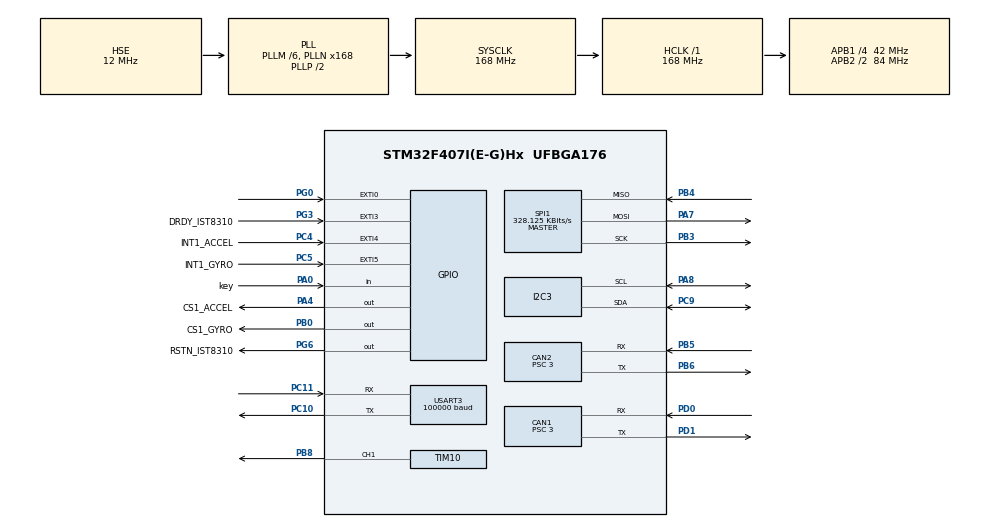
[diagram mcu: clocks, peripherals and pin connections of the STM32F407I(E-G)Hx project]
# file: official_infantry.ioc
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CAN1.ABOM=ENABLE
CAN1.AWUM=ENABLE
CAN1.BS1=CAN_BS1_9TQ
CAN1.BS2=CAN_BS2_4TQ
CAN1.CalculateBaudRate=1000000
CAN1.CalculateTimeBit=1000
CAN1.CalculateTimeQuantum=71.42857142857143
CAN1.NART=ENABLE
CAN1.Prescaler=3
CAN2.ABOM=ENABLE
CAN2.AWUM=ENABLE
CAN2.BS1=CAN_BS1_9TQ
CAN2.BS2=CAN_BS2_4TQ
CAN2.CalculateBaudRate=1000000
CAN2.CalculateTimeBit=1000
CAN2.CalculateTimeQuantum=71.42857142857143
CAN2.NART=ENABLE
CAN2.Prescaler=3
Dma.Request0=SPI1_RX
Dma.Request1=SPI1_TX
Dma.Request2=USART3_RX
Dma.SPI1_RX.0.Direction=DMA_PERIPH_TO_MEMORY
Dma.SPI1_RX.0.FIFOMode=DMA_FIFOMODE_DISABLE
Dma.SPI1_RX.0.Instance=DMA2_Stream2
Dma.SPI1_RX.0.MemDataAlignment=DMA_MDATAALIGN_BYTE
Dma.SPI1_RX.0.MemInc=DMA_MINC_ENABLE
Dma.SPI1_RX.0.Mode=DMA_NORMAL
Dma.SPI1_RX.0.PeriphDataAlignment=DMA_PDATAALIGN_BYTE
Dma.SPI1_RX.0.PeriphInc=DMA_PINC_DISABLE
Dma.SPI1_RX.0.Priority=DMA_PRIORITY_LOW
Dma.SPI1_TX.1.Direction=DMA_MEMORY_TO_PERIPH
Dma.SPI1_TX.1.FIFOMode=DMA_FIFOMODE_DISABLE
Dma.SPI1_TX.1.Instance=DMA2_Stream3
Dma.SPI1_TX.1.MemDataAlignment=DMA_MDATAALIGN_BYTE
Dma.SPI1_TX.1.MemInc=DMA_MINC_ENABLE
Dma.SPI1_TX.1.Mode=DMA_NORMAL
Dma.SPI1_TX.1.PeriphDataAlignment=DMA_PDATAALIGN_BYTE
Dma.SPI1_TX.1.PeriphInc=DMA_PINC_DISABLE
Dma.SPI1_TX.1.Priority=DMA_PRIORITY_LOW
Dma.USART3_RX.2.Direction=DMA_PERIPH_TO_MEMORY
Dma.USART3_RX.2.FIFOMode=DMA_FIFOMODE_DISABLE
Dma.USART3_RX.2.Instance=DMA1_Stream1
Dma.USART3_RX.2.MemDataAlignment=DMA_MDATAALIGN_BYTE
Dma.USART3_RX.2.MemInc=DMA_MINC_ENABLE
Dma.USART3_RX.2.Mode=DMA_CIRCULAR
Dma.USART3_RX.2.PeriphDataAlignment=DMA_PDATAALIGN_BYTE
Dma.USART3_RX.2.PeriphInc=DMA_PINC_DISABLE
Dma.USART3_RX.2.Priority=DMA_PRIORITY_LOW
FREERTOS.INCLUDE_eTaskGetState=1
FREERTOS.INCLUDE_pcTaskGetTaskName=1
FREERTOS.INCLUDE_uxTaskGetStackHighWaterMark=1
FREERTOS.INCLUDE_vTaskCleanUpResources=1
FREERTOS.INCLUDE_vTaskDelayUntil=1
FREERTOS.INCLUDE_xEventGroupSetBitFromISR=1
FREERTOS.INCLUDE_xQueueGetMutexHolder=1
FREERTOS.INCLUDE_xSemaphoreGetMutexHolder=1
FREERTOS.INCLUDE_xTaskAbortDelay=1
FREERTOS.INCLUDE_xTaskGetCurrentTaskHandle=1
FREERTOS.INCLUDE_xTaskGetHandle=1
FREERTOS.INCLUDE_xTimerPendFunctionCall=1
FREERTOS.Tasks01=All_Init,0,128,All_Init_Run,Default,NULL,Dynamic,NULL,NULL
FREERTOS.configTOTAL_HEAP_SIZE=24576
FREERTOS.configUSE_TIMERS=1
I2C3.I2C_Mode=I2C_Fast
Mcu.Family=STM32F4
Mcu.Name=STM32F407I(E-G)Hx
Mcu.Package=UFBGA176
NVIC.CAN1_RX0_IRQn=true\:5\:0\:false\:false\:true\:true\:true\:true\:true
NVIC.CAN2_RX0_IRQn=true\:5\:0\:false\:false\:true\:true\:true\:true\:true
NVIC.DMA1_Stream1_IRQn=true\:5\:0\:false\:false\:true\:true\:false\:true\:true
NVIC.DMA2_Stream2_IRQn=true\:5\:0\:false\:false\:true\:true\:false\:true\:true
NVIC.DMA2_Stream3_IRQn=true\:5\:0\:false\:false\:true\:true\:false\:true\:true
NVIC.EXTI0_IRQn=true\:6\:0\:true\:false\:true\:false\:true\:true\:true
NVIC.EXTI3_IRQn=true\:5\:0\:false\:false\:true\:true\:true\:true\:true
NVIC.EXTI4_IRQn=true\:5\:0\:false\:false\:true\:true\:true\:true\:true
NVIC.EXTI9_5_IRQn=true\:5\:0\:false\:false\:true\:true\:true\:true\:true
NVIC.PriorityGroup=NVIC_PRIORITYGROUP_4
NVIC.TIM6_DAC_IRQn=true\:15\:0\:false\:false\:true\:false\:false\:true\:true
NVIC.TimeBase=TIM6_DAC_IRQn
NVIC.TimeBaseIP=TIM6
NVIC.USART3_IRQn=true\:5\:0\:false\:false\:true\:true\:true\:true\:true
PA0-WKUP.GPIO_Label=key
PA0-WKUP.GPIO_PuPd=GPIO_PULLUP
PA0-WKUP.Signal=GPIO_Input
PA13.Mode=Serial_Wire
PA13.Signal=SYS_JTMS-SWDIO
PA14.Mode=Serial_Wire
PA14.Signal=SYS_JTCK-SWCLK
PA4.GPIO_Label=CS1_ACCEL
PA4.GPIO_PuPd=GPIO_PULLUP
PA4.GPIO_Speed=GPIO_SPEED_FREQ_HIGH
PA4.PinState=GPIO_PIN_SET
PA4.Signal=GPIO_Output
PA7.Mode=Full_Duplex_Master
PA7.Signal=SPI1_MOSI
PA8.Mode=I2C
PA8.Signal=I2C3_SCL
PB0.GPIO_Label=CS1_GYRO
PB0.GPIO_PuPd=GPIO_PULLUP
PB0.GPIO_Speed=GPIO_SPEED_FREQ_HIGH
PB0.PinState=GPIO_PIN_SET
PB0.Signal=GPIO_Output
PB3.Mode=Full_Duplex_Master
PB3.Signal=SPI1_SCK
PB4.Mode=Full_Duplex_Master
PB4.Signal=SPI1_MISO
PB5.Mode=CAN_Activate
PB5.Signal=CAN2_RX
PB6.Mode=CAN_Activate
PB6.Signal=CAN2_TX
PB8.GPIO_PuPd=GPIO_PULLUP
PB8.GPIO_Speed=GPIO_SPEED_FREQ_HIGH
PB8.Signal=S_TIM10_CH1
PC10.Mode=Asynchronous
PC10.Signal=USART3_TX
PC11.Mode=Asynchronous
PC11.Signal=USART3_RX
PC4.GPIO_Label=INT1_ACCEL
PC4.GPIO_PuPd=GPIO_PULLUP
PC4.Signal=GPXTI4
PC5.GPIO_Label=INT1_GYRO
PC5.GPIO_PuPd=GPIO_PULLUP
PC5.Signal=GPXTI5
PC9.Mode=I2C
PC9.Signal=I2C3_SDA
PD0.Mode=CAN_Activate
PD0.Signal=CAN1_RX
PD1.Mode=CAN_Activate
PD1.Signal=CAN1_TX
PG0.GPIO_PuPd=GPIO_PULLUP
PG0.Signal=GPXTI0
PG3.GPIO_Label=DRDY_IST8310
PG3.GPIO_PuPd=GPIO_PULLUP
PG3.Signal=GPXTI3
PG6.GPIO_Label=RSTN_IST8310
PG6.GPIO_PuPd=GPIO_PULLUP
PG6.GPIO_Speed=GPIO_SPEED_FREQ_MEDIUM
PG6.PinState=GPIO_PIN_SET
PG6.Signal=GPIO_Output
PH0-OSC_IN.Mode=HSE-External-Oscillator
PH0-OSC_IN.Signal=RCC_OSC_IN
PH1-OSC_OUT.Mode=HSE-External-Oscillator
PH1-OSC_OUT.Signal=RCC_OSC_OUT
ProjectManager.HeapSize=0x2000
ProjectManager.StackSize=0x2000
ProjectManager.TargetToolchain=MDK-ARM V5.32
RCC.48MHZClocksFreq_Value=84000000
RCC.AHBFreq_Value=168000000
RCC.APB1CLKDivider=RCC_HCLK_DIV4
RCC.APB1Freq_Value=42000000
RCC.APB1TimFreq_Value=84000000
RCC.APB2CLKDivider=RCC_HCLK_DIV2
RCC.APB2Freq_Value=84000000
RCC.APB2TimFreq_Value=168000000
RCC.CortexFreq_Value=168000000
RCC.HCLKFreq_Value=168000000
RCC.HSE_VALUE=12000000
RCC.HSI_VALUE=16000000
RCC.LSE_VALUE=32768
RCC.PLLM=6
RCC.PLLN=168
RCC.PLLSourceVirtual=RCC_PLLSOURCE_HSE
RCC.SYSCLKFreq_VALUE=168000000
RCC.SYSCLKSource=RCC_SYSCLKSOURCE_PLLCLK
RCC.VCOOutputFreq_Value=336000000
SH.S_TIM10_CH1.0=TIM10_CH1,PWM Generation1 CH1
SPI1.BaudRatePrescaler=SPI_BAUDRATEPRESCALER_256
SPI1.CLKPhase=SPI_PHASE_2EDGE
SPI1.CalculateBaudRate=328.125 KBits/s
SPI1.Direction=SPI_DIRECTION_2LINES
SPI1.Mode=SPI_MODE_MASTER
SPI1.VirtualType=VM_MASTER
TIM10.Channel=TIM_CHANNEL_1
TIM10.Period=5000-1
USART3.BaudRate=100000
USART3.VirtualMode=VM_ASYNC
VP_FREERTOS_VS_CMSIS_V1.Mode=CMSIS_V1
VP_SYS_VS_tim6.Mode=TIM6
VP_TIM10_VS_ClockSourceINT.Mode=Enable_Timer
board=custom

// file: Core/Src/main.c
/* USER CODE BEGIN Header */
/**
  ******************************************************************************
  * @file           : main.c
  * @brief          : Main program body
  ******************************************************************************
  * @attention
  *
  * Copyright (c) 2024 STMicroelectronics.
  * All rights reserved.
  *
  * This software is licensed under terms that can be found in the LICENSE file
  * in the root directory of this software component.
  * If no LICENSE file comes with this software, it is provided AS-IS.
  *
  ******************************************************************************
  */
/* USER CODE END Header */
#include "main.h"
#include "cmsis_os.h"
#include "can.h"
#include "dma.h"
#include "i2c.h"
#include "spi.h"
#include "tim.h"
#include "usart.h"
#include "gpio.h"

void SystemClock_Config(void);
void MX_FREERTOS_Init(void);

int main(void)
{

  /* MCU Configuration--------------------------------------------------------*/

  /* Reset of all peripherals, Initializes the Flash interface and the Systick. */
  HAL_Init();

  /* Configure the system clock */
  SystemClock_Config();

  /* Initialize all configured peripherals */
  MX_GPIO_Init();
  MX_DMA_Init();
  MX_CAN1_Init();
  MX_CAN2_Init();
  MX_I2C3_Init();
  MX_SPI1_Init();
  MX_USART3_UART_Init();
  MX_TIM10_Init();

  /* Call init function for freertos objects (in freertos.c) */
  MX_FREERTOS_Init();

  /* Start scheduler */
  osKernelStart();
  /* We should never get here as control is now taken by the scheduler */
  /* Infinite loop */
  while (1)
  {

  }
}

void SystemClock_Config(void)
{
  RCC_OscInitTypeDef RCC_OscInitStruct = {0};
  RCC_ClkInitTypeDef RCC_ClkInitStruct = {0};

  /** Configure the main internal regulator output voltage
  */
  __HAL_RCC_PWR_CLK_ENABLE();
  __HAL_PWR_VOLTAGESCALING_CONFIG(PWR_REGULATOR_VOLTAGE_SCALE1);

  /** Initializes the RCC Oscillators according to the specified parameters
  * in the RCC_OscInitTypeDef structure.
  */
  RCC_OscInitStruct.OscillatorType = RCC_OSCILLATORTYPE_HSE;
  RCC_OscInitStruct.HSEState = RCC_HSE_ON;
  RCC_OscInitStruct.PLL.PLLState = RCC_PLL_ON;
  RCC_OscInitStruct.PLL.PLLSource = RCC_PLLSOURCE_HSE;
  RCC_OscInitStruct.PLL.PLLM = 6;
  RCC_OscInitStruct.PLL.PLLN = 168;
  RCC_OscInitStruct.PLL.PLLP = RCC_PLLP_DIV2;
  RCC_OscInitStruct.PLL.PLLQ = 4;
  if (HAL_RCC_OscConfig(&RCC_OscInitStruct) != HAL_OK)
  {
    Error_Handler();
  }

  /** Initializes the CPU, AHB and APB buses clocks
  */
  RCC_ClkInitStruct.ClockType = RCC_CLOCKTYPE_HCLK|RCC_CLOCKTYPE_SYSCLK
                              |RCC_CLOCKTYPE_PCLK1|RCC_CLOCKTYPE_PCLK2;
  RCC_ClkInitStruct.SYSCLKSource = RCC_SYSCLKSOURCE_PLLCLK;
  RCC_ClkInitStruct.AHBCLKDivider = RCC_SYSCLK_DIV1;
  RCC_ClkInitStruct.APB1CLKDivider = RCC_HCLK_DIV4;
  RCC_ClkInitStruct.APB2CLKDivider = RCC_HCLK_DIV2;

  if (HAL_RCC_ClockConfig(&RCC_ClkInitStruct, FLASH_LATENCY_5) != HAL_OK)
  {
    Error_Handler();
  }
}

void HAL_TIM_PeriodElapsedCallback(TIM_HandleTypeDef *htim)
{
  if (htim->Instance == TIM6) {
    HAL_IncTick();
  }
}

void Error_Handler(void)
{
  __disable_irq();
  while (1)
  {
  }
}

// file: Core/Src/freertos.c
/* USER CODE BEGIN Header */
/**
  ******************************************************************************
  * File Name          : freertos.c
  * Description        : Code for freertos applications
  ******************************************************************************
  * @attention
  *
  * Copyright (c) 2024 STMicroelectronics.
  * All rights reserved.
  *
  * This software is licensed under terms that can be found in the LICENSE file
  * in the root directory of this software component.
  * If no LICENSE file comes with this software, it is provided AS-IS.
  *
  ******************************************************************************
  */
/* USER CODE END Header */

#include "FreeRTOS.h"
#include "task.h"
#include "main.h"
#include "cmsis_os.h"

/* USER CODE BEGIN Includes */
#include "pid.h"
#include "dr16.h"
#include "M6020_motor.h"
#include "bsp_delay.h"
#include "bsp_can.h"
#include "INS_task.h"
#include "calibrate_task.h"
#include "IMU_Send_task.h"
#include "Robot_control_task.h"
/* USER CODE END Includes */

/* USER CODE BEGIN PTD */
osThreadId calibrate_tast_handle;
osThreadId imuTaskHandle;
osThreadId RobotCtrl_Handle;
void Robot_Control(void const *argument);
/* USER CODE END PTD */

/* USER CODE BEGIN Variables */
osMessageQId CAN2_Queue;
osMessageQId CAN1_ReceiveHandle;
osMessageQId CAN2_ReceiveHandle;
osThreadId IMU_Send_TaskHandle;
/* USER CODE END Variables */
osThreadId All_InitHandle;

/* USER CODE BEGIN FunctionPrototypes */
extern void IMU_Send(void const * argument);
/* USER CODE END FunctionPrototypes */

void All_Init_Run(void const * argument);

void MX_FREERTOS_Init(void); /* (MISRA C 2004 rule 8.1) */

/* GetIdleTaskMemory prototype (linked to static allocation support) */
void vApplicationGetIdleTaskMemory( StaticTask_t **ppxIdleTaskTCBBuffer, StackType_t **ppxIdleTaskStackBuffer, uint32_t *pulIdleTaskStackSize );

/* GetTimerTaskMemory prototype (linked to static allocation support) */
void vApplicationGetTimerTaskMemory( StaticTask_t **ppxTimerTaskTCBBuffer, StackType_t **ppxTimerTaskStackBuffer, uint32_t *pulTimerTaskStackSize );

/* USER CODE BEGIN GET_IDLE_TASK_MEMORY */
static StaticTask_t xIdleTaskTCBBuffer;
static StackType_t xIdleStack[configMINIMAL_STACK_SIZE];

void vApplicationGetIdleTaskMemory( StaticTask_t **ppxIdleTaskTCBBuffer, StackType_t **ppxIdleTaskStackBuffer, uint32_t *pulIdleTaskStackSize )
{
  *ppxIdleTaskTCBBuffer = &xIdleTaskTCBBuffer;
  *ppxIdleTaskStackBuffer = &xIdleStack[0];
  *pulIdleTaskStackSize = configMINIMAL_STACK_SIZE;
  /* place for user code */
}
/* USER CODE END GET_IDLE_TASK_MEMORY */

/* USER CODE BEGIN GET_TIMER_TASK_MEMORY */
static StaticTask_t xTimerTaskTCBBuffer;
static StackType_t xTimerStack[configTIMER_TASK_STACK_DEPTH];

void vApplicationGetTimerTaskMemory( StaticTask_t **ppxTimerTaskTCBBuffer, StackType_t **ppxTimerTaskStackBuffer, uint32_t *pulTimerTaskStackSize )
{
  *ppxTimerTaskTCBBuffer = &xTimerTaskTCBBuffer;
  *ppxTimerTaskStackBuffer = &xTimerStack[0];
  *pulTimerTaskStackSize = configTIMER_TASK_STACK_DEPTH;
  /* place for user code */
}
/* USER CODE END GET_TIMER_TASK_MEMORY */

void MX_FREERTOS_Init(void) {

  /* Create the thread(s) */
  /* definition and creation of All_Init */
  osThreadDef(All_Init, All_Init_Run, osPriorityNormal, 0, 128);
  All_InitHandle = osThreadCreate(osThread(All_Init), NULL);

  /* USER CODE BEGIN RTOS_THREADS */
  /* add threads, ... */

	osThreadDef(IMU_Send_Task, IMU_Send, osPriorityHigh, 0, 128);
  IMU_Send_TaskHandle = osThreadCreate(osThread(IMU_Send_Task), NULL);

	osThreadDef(cali, calibrate_task, osPriorityAboveNormal, 0, 512);
  calibrate_tast_handle = osThreadCreate(osThread(cali), NULL);

	osThreadDef(imuTask, INS_task, osPriorityRealtime, 0, 1024);
  imuTaskHandle = osThreadCreate(osThread(imuTask), NULL);

	osThreadDef(Task_Robot_Control, Robot_Control, osPriorityRealtime, 0, 512);
	RobotCtrl_Handle = osThreadCreate(osThread(Task_Robot_Control), NULL);
  /* USER CODE END RTOS_THREADS */

}

void All_Init_Run(void const * argument)
{
  /* USER CODE BEGIN All_Init_Run */

	taskENTER_CRITICAL();  //进入临界区
	delay_init();
	cali_param_init();
	CAN_1_Filter_Config();
	CAN_2_Filter_Config();
	__HAL_CAN_ENABLE_IT(&hcan1, CAN_IT_RX_FIFO0_MSG_PENDING); //  CAN_IT_FMP0
	__HAL_CAN_ENABLE_IT(&hcan2, CAN_IT_RX_FIFO0_MSG_PENDING); //  CAN_IT_FMP0
	dbus_uart_init();   //dbus初始化
	M6020_TargetAngle_init();
	motor_pid_init();   //电机pid初始化

	taskEXIT_CRITICAL();   //退出临界区
	vTaskDelete(NULL);

  /* USER CODE END All_Init_Run */
}
